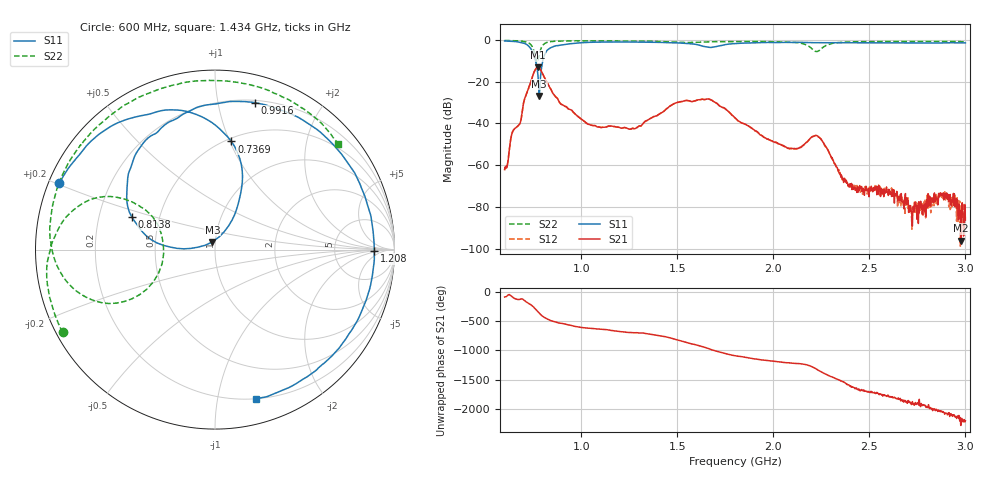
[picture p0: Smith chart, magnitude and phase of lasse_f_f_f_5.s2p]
#  HZ  S  RI  R  50.00
! Rohde & Schwarz ZVB8 2Ports - Version 2.81 - 1145.1010k08 SN: 100113
! Date: 2016-05-04 02:50:25
! Measurements: S11 S21 S12 S22
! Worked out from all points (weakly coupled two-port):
!   1000 points, 600 MHz to 3 GHz, reference 50 ohm
!   highest |S21| = -13.12 dB at 773 MHz (marker M1); lowest = -96.0 dB at 2.976 GHz (marker M2)
!   lowest |S11| = -26.9 dB at 780.2 MHz (marker M3), VSWR 1.09, Z = 48.4 + j4.16 ohm
!   |S11| at or under -10 dB: 760.8 MHz to 798.9 MHz (38.12 MHz wide, 4.89 % of centre)
!   |S22| runs from -10.8 to -0.3 dB; largest |S21 - S12| = 0.0033
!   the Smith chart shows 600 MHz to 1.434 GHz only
!   S11 on the Smith chart (normalised r, x): 600 MHz: 0.03, +0.20; 736.9 MHz: 0.53, +1.01; 813.8 MHz: 0.35, +0.17; 991.6 MHz: 0.22, +1.29; 1.208 GHz: 17, -1; 1.434 GHz: 0.20, -1.29
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6e8  -0.8668 0.3699  0.000101 -0.000786  7.77e-05 -0.000758  -0.8495 -0.4618
7.369369e8  0.0919 0.6026  -0.0796 0.0579  -0.0792 0.0584  -0.7164 0.269
7.72973e8  0.0757 0.132  0.1986 0.0966  0.1984 0.0997  -0.2947 -0.0785
7.801802e8  -0.0143 0.0428  0.2125 -0.000801  0.2113 0.00206  -0.3785 -0.2195
8.138138e8  -0.463 0.1801  0.00927 -0.1097  0.00909 -0.1092  -0.8236 -0.1813
8.786787e8  -0.3255 0.6502  -0.0362 -0.00914  -0.0361 -0.00928  -0.9123 0.1962
9.915916e8  0.2245 0.8185  -0.00655 0.0119  -0.00654 0.0118  -0.7322 0.6026
1.001201e9  0.2763 0.8076  -0.00539 0.0113  -0.00542 0.0113  -0.7096 0.6294
1.207808e9  0.8876 -0.008  0.00576 0.00511  0.00572 0.00512  -0.0554 0.9415
1.4e9  0.3797 -0.7817  0.0148 -0.00656  0.0147 -0.00647  0.6066 0.6886
1.433634e9  0.2281 -0.8335  0.0154 -0.0136  0.0154 -0.0133  0.6856 0.5859
1.661862e9  -0.4844 -0.456  -0.0144 0.0357  -0.0148 0.0356  0.8823 -0.144
1.801201e9  -0.7779 -0.2527  0.0133 -0.00272  0.0133 -0.00267  0.67 -0.6183
2.07988e9  -0.4735 0.7263  -0.00165 -0.0019  -0.0017 -0.00189  -0.2491 -0.8482
2.2e9  0.00094 0.856  -0.00451 0.00148  -0.00449 0.00151  -0.4331 -0.4381
2.25045e9  0.201 0.83  0.00139 0.00382  0.00143 0.00375  -0.2534 -0.5665
2.396997e9  0.7056 0.4791  -0.000336 -6.36e-05  -0.000283 -6.46e-05  -0.7317 -0.512
2.601201e9  0.7611 -0.3725  0.000266 2.22e-05  0.000257 5.33e-05  -0.9116 -0.0201
2.786186e9  0.1828 -0.821  -6.53e-05 -6.14e-05  -6.67e-05 -5.17e-05  -0.8122 0.3988
2.872673e9  -0.1348 -0.8308  -0.000111 0.000165  -8.79e-05 0.000194  -0.7112 0.5627
2.975976e9  -0.4839 -0.6947  -9.59e-06 -1.26e-05  4.86e-05 -1.32e-05  -0.5393 0.7182
3e9  -0.5555 -0.6379  3.32e-05 -3.61e-05  1.01e-05 -4.39e-05  -0.4938 0.7505
